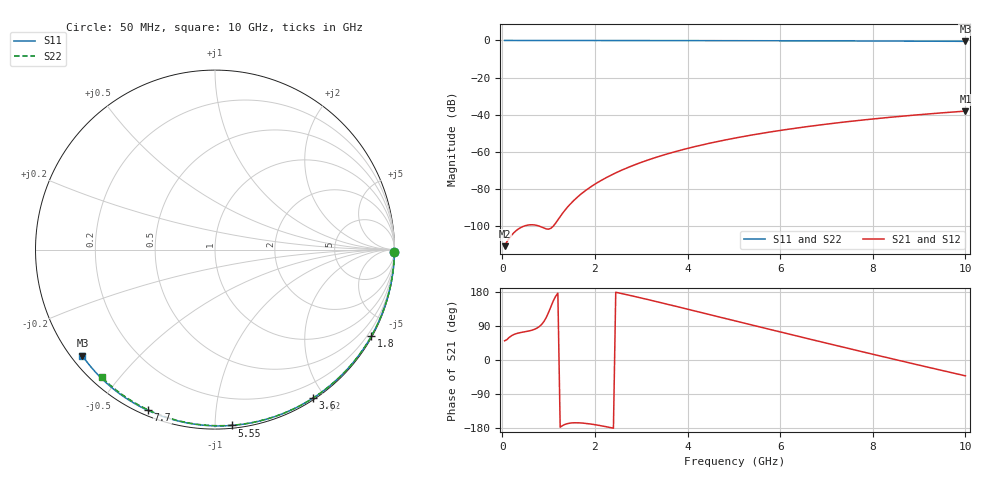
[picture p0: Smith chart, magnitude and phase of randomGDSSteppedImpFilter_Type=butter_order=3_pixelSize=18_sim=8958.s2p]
! freq	dB(S11)	phase(S11)	dB(S12)	phase(S12)
!  dB(S21)	phase(S21)	dB(S22)	phase(S22)
!S-par simulation data
#  GHz  S  DB  R 50
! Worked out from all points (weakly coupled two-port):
!   200 points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, 50 MHz to 10 GHz, reference 50 ohm
!   highest |S21| = -38.07 dB at 10 GHz (marker M1); lowest = -110.8 dB at 50 MHz (marker M2)
!   lowest |S11| = -0.5 dB at 10 GHz (marker M3), VSWR 36.37, Z = 1.54 - j17.5 ohm
!   |S11| at or under -10 dB: nowhere
!   |S22| runs from -0.4 to 0.0 dB; largest |S21 - S12| = 0
!   S11 on the Smith chart (normalised r, x): 50 MHz: open; 1.8 GHz: 0.03, -3.86; 3.6 GHz: 0.02, -1.85; 5.55 GHz: 0.02, -1.10; 7.7 GHz: 0.02, -0.67; 10 GHz: 0.03, -0.35
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0.05  -0.00 -0.8  -110.85 50.6  -110.85 50.6  -0.00 -0.8
0.45  -0.01 -7.4  -100.22 73.7  -100.22 73.7  -0.01 -6.8
0.9  -0.02 -14.7  -101.09 101.7  -101.09 101.7  -0.02 -13.6
1.75  -0.04 -28.3  -81.77 -166.6  -81.77 -166.6  -0.03 -26.2
1.8  -0.04 -29.0  -80.82 -167.3  -80.82 -167.3  -0.03 -27.0
1.85  -0.04 -29.8  -79.92 -168.0  -79.92 -168.0  -0.04 -27.7
2  -0.04 -32.2  -77.43 -170.7  -77.43 -170.7  -0.04 -29.9
2.15  -0.04 -34.5  -75.21 -173.9  -75.21 -173.9  -0.04 -32.1
2.35  -0.05 -37.7  -72.57 -178.7  -72.57 -178.7  -0.04 -35.0
2.55  -0.05 -40.8  -70.20 176.1  -70.20 176.1  -0.05 -37.9
2.95  -0.06 -46.9  -66.15 165.1  -66.15 165.1  -0.06 -43.6
3.4  -0.07 -53.7  -62.35 152.0  -62.35 152.0  -0.07 -49.9
3.6  -0.08 -56.7  -60.86 146.1  -60.86 146.1  -0.07 -52.7
4.3  -0.09 -66.9  -56.37 125.1  -56.37 125.1  -0.09 -62.3
5.05  -0.12 -77.6  -52.47 102.6  -52.47 102.6  -0.11 -72.3
5.55  -0.14 -84.5  -50.27 87.5  -50.27 87.5  -0.13 -78.7
6.1  -0.16 -91.9  -48.11 71.1  -48.11 71.1  -0.15 -85.7
6.7  -0.19 -99.8  -46.04 53.3  -46.04 53.3  -0.18 -93.1
7.7  -0.26 -112.7  -43.09 23.9  -43.09 23.9  -0.24 -105.1
8.35  -0.31 -120.9  -41.46 5.0  -41.46 5.0  -0.29 -112.7
9.2  -0.39 -131.4  -39.59 -19.3  -39.59 -19.3  -0.36 -122.5
10  -0.48 -141.3  -38.07 -41.8  -38.07 -41.8  -0.44 -131.5
